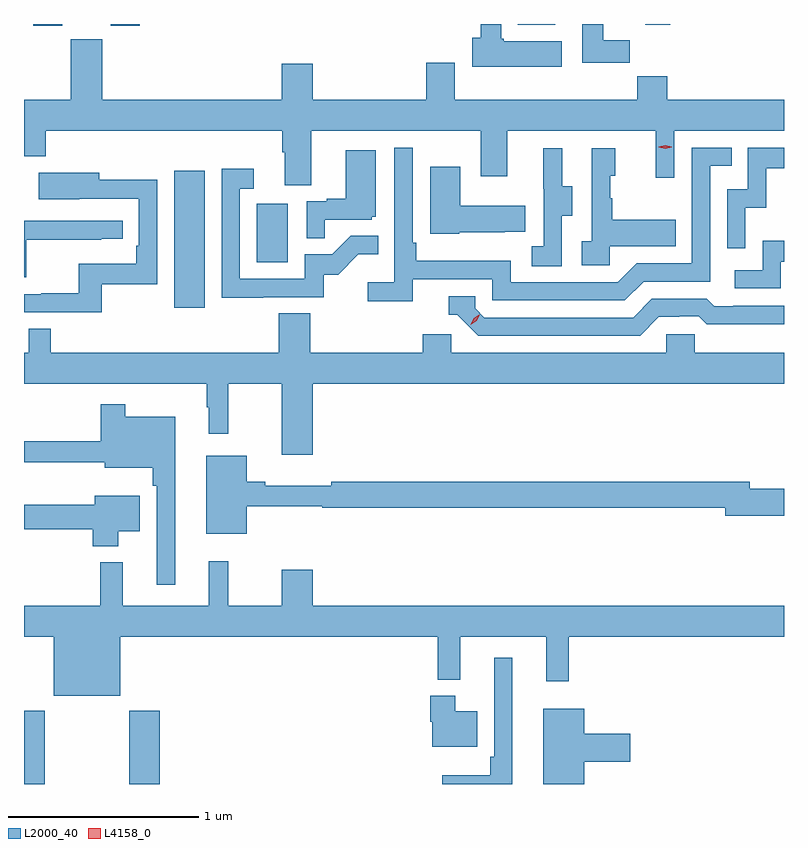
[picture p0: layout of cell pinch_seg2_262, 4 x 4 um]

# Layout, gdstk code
import gdstk
lib = gdstk.Library(unit=1e-6, precision=1e-09)
def R(c, l, rs):  # rectangles x0, y0, x1, y1
    for r in rs: c.add(gdstk.rectangle(r[:2], r[2:], *l))
def P(c, l, *ps):  # polygons
    for p in ps: c.add(gdstk.Polygon(p, *l))
L2000_40 = (2000, 40)
L4158_0 = (4158, 0)

pinch_seg2_262 = lib.new_cell('pinch_seg2_262')
R(pinch_seg2_262, L2000_40, [(894.919,661.514,895.029,661.9), (895.474,661.514,895.634,661.9), (895.709,664.02,895.87,664.741), (896.144,664.26,896.308,664.567), (894.968,665.505,895.12,665.514), (895.376,665.505,895.529,665.514), (897.518,665.51,897.715,665.514), (898.188,665.51,898.319,665.514)])
P(pinch_seg2_262, L2000_40, [(897.748,665.422),(897.444,665.422),(897.444,665.436),(897.43,665.436),(897.43,665.514),(897.323,665.514),(897.323,665.442),(897.278,665.442),(897.278,665.288),(897.748,665.288)],
  [(898.106,665.428),(897.967,665.428),(897.967,665.514),(897.857,665.514),(897.857,665.31),(898.106,665.31)],
  [(896.279,664.84),(896.291,664.84),(896.291,664.666),(896.431,664.666),(896.431,664.952),(897.323,664.952),(897.323,664.713),(897.463,664.713),(897.463,664.952),(898.244,664.952),(898.244,664.704),(898.341,664.704),(898.341,664.952),(898.919,664.952),(898.919,665.116),(898.304,665.116),(898.304,665.24),(898.147,665.24),(898.147,665.116),(897.187,665.116),(897.187,665.311),(897.035,665.311),(897.035,665.116),(896.44,665.116),(896.44,665.305),(896.276,665.305),(896.276,665.116),(895.33,665.116),(895.33,665.433),(895.166,665.433),(895.166,665.116),(894.919,665.116),(894.919,664.817),(895.034,664.817),(895.034,664.952),(896.279,664.952)],
  [(896.966,664.17),(897.384,664.17),(897.384,664.059),(898.081,664.059),(898.18,664.158),(898.53,664.158),(898.53,664.767),(898.643,664.767),(898.643,664.863),(898.434,664.863),(898.434,664.254),(898.143,664.254),(898.044,664.155),(897.48,664.155),(897.48,664.267),(896.984,664.267),(896.984,664.363),(896.964,664.363),(896.964,664.864),(896.868,664.864),(896.868,664.156),(896.727,664.156),(896.727,664.054),(896.966,664.054)],
  [(898.716,664.547),(898.826,664.547),(898.826,664.755),(898.919,664.755),(898.919,664.863),(898.728,664.863),(898.728,664.644),(898.62,664.644),(898.62,664.335),(898.716,664.335)],
  [(897.75,664.504),(897.805,664.504),(897.805,664.659),(897.751,664.659),(897.751,664.861),(897.653,664.861),(897.653,664.647),(897.654,664.647),(897.654,664.343),(897.591,664.343),(897.591,664.24),(897.75,664.24)],
  [(898.002,664.343),(898.349,664.343),(898.349,664.483),(898.015,664.483),(898.015,664.598),(898.005,664.598),(898.005,664.716),(898.03,664.716),(898.03,664.861),(897.906,664.861),(897.906,664.37),(897.855,664.37),(897.855,664.245),(898.002,664.245)],
  [(896.501,664.485),(896.748,664.485),(896.748,664.5),(896.77,664.5),(896.77,664.849),(896.612,664.849),(896.612,664.594),(896.513,664.594),(896.513,664.581),(896.406,664.581),(896.406,664.387),(896.501,664.387)],
  [(897.21,664.418),(897.449,664.418),(897.449,664.421),(897.557,664.421),(897.557,664.558),(897.214,664.558),(897.214,664.762),(897.056,664.762),(897.056,664.409),(897.21,664.409)],
  [(896.177,664.077),(896.496,664.077),(896.496,664.194),(896.572,664.194),(896.679,664.301),(896.783,664.301),(896.783,664.4),(896.639,664.4),(896.541,664.302),(896.397,664.302),(896.397,664.173),(896.055,664.173),(896.055,664.647),(896.128,664.647),(896.128,664.753),(895.959,664.753),(895.959,664.072),(896.177,664.072)],
  [(895.327,664.143),(895.62,664.143),(895.62,664.694),(895.315,664.694),(895.315,664.732),(894.997,664.732),(894.997,664.592),(895.211,664.592),(895.211,664.593),(895.524,664.593),(895.524,664.348),(895.511,664.348),(895.511,664.252),(895.206,664.252),(895.206,664.097),(895.009,664.097),(895.009,664.092),(894.919,664.092),(894.919,663.996),(895.327,663.996)],
  [(894.932,664.378),(895.325,664.378),(895.325,664.383),(895.438,664.383),(895.438,664.479),(894.919,664.479),(894.919,664.182),(894.932,664.182)],
  [(898.902,664.263),(898.919,664.263),(898.919,664.372),(898.806,664.372),(898.806,664.218),(898.659,664.218),(898.659,664.122),(898.902,664.122)],
  [(898.261,663.972),(898.368,663.972),(898.368,663.975),(898.471,663.975),(898.513,663.933),(898.746,663.933),(898.746,663.935),(898.919,663.935),(898.919,664.032),(898.651,664.032),(898.651,664.029),(898.552,664.029),(898.513,664.068),(898.224,664.068),(898.125,663.969),(897.342,663.969),(897.294,664.017),(897.294,664.08),(897.155,664.08),(897.155,663.984),(897.198,663.984),(897.309,663.873),(898.162,663.873)],
  [(896.44,663.62),(898.919,663.62),(898.919,663.784),(898.449,663.784),(898.449,663.882),(898.299,663.882),(898.299,663.784),(897.168,663.784),(897.168,663.882),(897.017,663.882),(897.017,663.784),(896.426,663.784),(896.426,663.992),(896.261,663.992),(896.261,663.784),(895.061,663.784),(895.061,663.911),(894.945,663.911),(894.945,663.784),(894.919,663.784),(894.919,663.62),(895.881,663.62),(895.881,663.497),(895.892,663.497),(895.892,663.357),(895.994,663.357),(895.994,663.62),(896.276,663.62),(896.276,663.246),(896.44,663.246)],
  [(895.714,663.448),(895.453,663.448),(895.453,663.514),(895.324,663.514),(895.324,663.319),(894.919,663.319),(894.919,663.208),(895.343,663.208),(895.343,663.179),(895.597,663.179),(895.597,663.083),(895.617,663.083),(895.617,662.562),(895.714,662.562)],
  [(896.092,662.976),(896.488,662.976),(896.488,662.968),(898.61,662.968),(898.61,662.926),(898.919,662.926),(898.919,663.068),(898.738,663.068),(898.738,663.104),(896.536,663.104),(896.536,663.085),(896.188,663.085),(896.188,663.104),(896.092,663.104),(896.092,663.241),(895.877,663.241),(895.877,662.831),(896.092,662.831)],
  [(895.414,662.843),(895.528,662.843),(895.528,663.031),(895.292,663.031),(895.292,662.983),(894.919,662.983),(894.919,662.854),(895.28,662.854),(895.28,662.765),(895.414,662.765)],
  [(895.426,662.288),(897.097,662.288),(897.097,662.063),(897.215,662.063),(897.215,662.288),(897.668,662.288),(897.668,662.055),(897.785,662.055),(897.785,662.288),(898.919,662.288),(898.919,662.452),(896.44,662.452),(896.44,662.641),(896.276,662.641),(896.276,662.452),(895.994,662.452),(895.994,662.686),(895.892,662.686),(895.892,662.452),(895.439,662.452),(895.439,662.68),(895.321,662.68),(895.321,662.452),(894.919,662.452),(894.919,662.288),(895.076,662.288),(895.076,661.979),(895.426,661.979)],
  [(897.49,662.179),(897.393,662.179),(897.393,661.657),(897.373,661.657),(897.373,661.561),(897.119,661.561),(897.119,661.514),(897.49,661.514)],
  [(897.304,661.897),(897.19,661.897),(897.19,661.978),(897.056,661.978),(897.056,661.842),(897.068,661.842),(897.068,661.709),(897.304,661.709)],
  [(897.868,661.631),(898.111,661.631),(898.111,661.778),(897.868,661.778),(897.868,661.909),(897.653,661.909),(897.653,661.514),(897.868,661.514)])
P(pinch_seg2_262, L4158_0, [(898.294,664.857),(898.259,664.866),(898.259,664.867),(898.259,664.867),(898.294,664.877),(898.329,664.867),(898.329,664.867),(898.329,664.866)],
  [(897.27,663.932),(897.27,663.932),(897.286,663.965),(897.316,663.984),(897.317,663.984),(897.317,663.984),(897.301,663.951),(897.27,663.932)])

lib.write_gds('pinch_seg2_262.gds')
